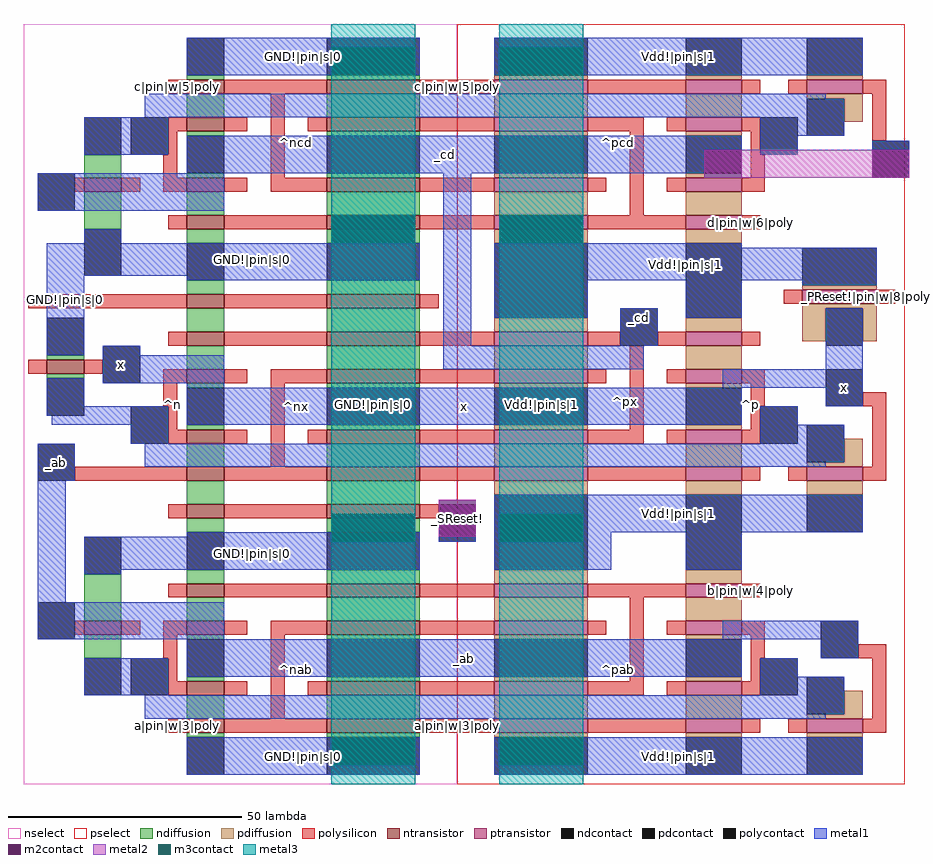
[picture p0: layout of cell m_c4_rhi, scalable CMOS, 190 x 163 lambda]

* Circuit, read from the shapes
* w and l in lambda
.subckt m_c4_rhi GND!|pin|s|0 Vdd!|pin|s|1 _PReset!|pin|w|8|poly _SReset! _SReset!|pin|w|7|poly _ab _cd a|pin|w|3|poly b|pin|w|4|poly c|pin|w|5|poly d|pin|w|6|poly x
M1 GND!|pin|s|0 x n1 VSUBS nfet w=8 l=3
M2 GND!|pin|s|0 _ab n2 VSUBS nfet w=8 l=3
M3 n3 _cd GND!|pin|s|0 VSUBS nfet w=8 l=3
M4 n4 a|pin|w|3|poly GND!|pin|s|0 VSUBS nfet w=8 l=3
M5 _ab n2 n4 VSUBS nfet w=8 l=3
M6 n5 n2 _ab VSUBS nfet w=8 l=3
M7 GND!|pin|s|0 b|pin|w|4|poly n5 VSUBS nfet w=8 l=3
M8 n6 _SReset! GND!|pin|s|0 VSUBS nfet w=8 l=3
M9 n7 _ab n6 VSUBS nfet w=8 l=3
M10 x n1 n7 VSUBS nfet w=8 l=3
M11 n8 n1 x VSUBS nfet w=8 l=3
M12 n9 _cd n8 VSUBS nfet w=8 l=3
M13 GND!|pin|s|0 _SReset!|pin|w|7|poly n9 VSUBS nfet w=8 l=3
M14 n10 d|pin|w|6|poly GND!|pin|s|0 VSUBS nfet w=8 l=3
M15 _cd n3 n10 VSUBS nfet w=8 l=3
M16 n11 n3 _cd VSUBS nfet w=8 l=3
M17 GND!|pin|s|0 c|pin|w|5|poly n11 VSUBS nfet w=8 l=3
M18 n12 a|pin|w|3|poly GND!|pin|s|0 VSUBS nfet w=20 l=3
M19 _ab b|pin|w|4|poly n12 VSUBS nfet w=20 l=3
M20 n13 a|pin|w|3|poly _ab VSUBS nfet w=20 l=3
M21 GND!|pin|s|0 b|pin|w|4|poly n13 VSUBS nfet w=20 l=3
M22 n14 _SReset! GND!|pin|s|0 VSUBS nfet w=20 l=3
M23 n15 _ab n14 VSUBS nfet w=20 l=3
M24 x _cd n15 VSUBS nfet w=20 l=3
M25 n16 _ab x VSUBS nfet w=20 l=3
M26 n17 _cd n16 VSUBS nfet w=20 l=3
M27 GND!|pin|s|0 _SReset!|pin|w|7|poly n17 VSUBS nfet w=20 l=3
M28 n18 d|pin|w|6|poly GND!|pin|s|0 VSUBS nfet w=20 l=3
M29 _cd c|pin|w|5|poly n18 VSUBS nfet w=20 l=3
M30 n19 d|pin|w|6|poly _cd VSUBS nfet w=20 l=3
M31 GND!|pin|s|0 c|pin|w|5|poly n19 VSUBS nfet w=20 l=3
M32 n20 a|pin|w|3|poly Vdd!|pin|s|1 NWELL pfet w=20 l=3
M33 _ab b|pin|w|4|poly n20 NWELL pfet w=20 l=3
M34 n21 a|pin|w|3|poly _ab NWELL pfet w=20 l=3
M35 Vdd!|pin|s|1 b|pin|w|4|poly n21 NWELL pfet w=20 l=3
M36 n22 _ab Vdd!|pin|s|1 NWELL pfet w=20 l=3
M37 x _cd n22 NWELL pfet w=20 l=3
M38 n23 _ab x NWELL pfet w=20 l=3
M39 Vdd!|pin|s|1 _cd n23 NWELL pfet w=20 l=3
M40 n24 d|pin|w|6|poly Vdd!|pin|s|1 NWELL pfet w=20 l=3
M41 _cd c|pin|w|5|poly n24 NWELL pfet w=20 l=3
M42 n25 d|pin|w|6|poly _cd NWELL pfet w=20 l=3
M43 Vdd!|pin|s|1 c|pin|w|5|poly n25 NWELL pfet w=20 l=3
M44 n26 a|pin|w|3|poly Vdd!|pin|s|1 NWELL pfet w=12 l=3
M45 _ab n2 n26 NWELL pfet w=12 l=3
M46 n27 n2 _ab NWELL pfet w=12 l=3
M47 Vdd!|pin|s|1 b|pin|w|4|poly n27 NWELL pfet w=12 l=3
M48 n28 _ab Vdd!|pin|s|1 NWELL pfet w=12 l=3
M49 x n1 n28 NWELL pfet w=12 l=3
M50 n29 n1 x NWELL pfet w=12 l=3
M51 Vdd!|pin|s|1 _cd n29 NWELL pfet w=12 l=3
M52 n30 d|pin|w|6|poly Vdd!|pin|s|1 NWELL pfet w=12 l=3
M53 _cd n3 n30 NWELL pfet w=12 l=3
M54 n31 n3 _cd NWELL pfet w=12 l=3
M55 Vdd!|pin|s|1 c|pin|w|5|poly n31 NWELL pfet w=12 l=3
M56 Vdd!|pin|s|1 _PReset!|pin|w|8|poly x NWELL pfet w=16 l=3
M57 n2 _ab Vdd!|pin|s|1 NWELL pfet w=12 l=3
M58 n1 x Vdd!|pin|s|1 NWELL pfet w=12 l=3
M59 Vdd!|pin|s|1 _cd n3 NWELL pfet w=12 l=3
.ends

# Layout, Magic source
magic
tech scmos
<< nselect >>
rect -93 2 0 165
<< pselect >>
rect 0 2 96 165
<< ndiffusion >>
rect -58 153 -50 154
rect -28 153 -8 154
rect -58 145 -50 150
rect -80 132 -72 137
rect -58 141 -50 142
rect -58 132 -50 133
rect -28 145 -8 150
rect -28 141 -8 142
rect -28 132 -8 133
rect -80 121 -72 129
rect -58 124 -50 129
rect -28 124 -8 129
rect -58 118 -50 121
rect -58 107 -50 110
rect -28 118 -8 121
rect -28 107 -8 110
rect -58 99 -50 104
rect -28 99 -8 104
rect -88 93 -80 94
rect -88 89 -80 90
rect -58 91 -50 96
rect -28 91 -8 96
rect -58 87 -50 88
rect -58 78 -50 79
rect -58 70 -50 75
rect -28 87 -8 88
rect -28 78 -8 79
rect -28 70 -8 75
rect -58 62 -50 67
rect -28 62 -8 67
rect -58 56 -50 59
rect -80 37 -72 47
rect -58 45 -50 48
rect -28 56 -8 59
rect -28 45 -8 48
rect -58 37 -50 42
rect -28 37 -8 42
rect -80 29 -72 34
rect -58 33 -50 34
rect -58 24 -50 25
rect -58 16 -50 21
rect -28 33 -8 34
rect -28 24 -8 25
rect -28 16 -8 21
rect -58 12 -50 13
rect -28 12 -8 13
<< pdiffusion >>
rect 8 153 28 154
rect 49 153 61 154
rect 75 153 87 154
rect 8 145 28 150
rect 49 145 61 150
rect 75 149 87 150
rect 8 141 28 142
rect 8 132 28 133
rect 8 124 28 129
rect 49 141 61 142
rect 49 132 61 133
rect 83 144 87 149
rect 49 124 61 129
rect 8 118 28 121
rect 49 118 61 121
rect 8 99 28 102
rect 74 108 90 109
rect 49 99 61 102
rect 74 104 90 105
rect 74 97 79 104
rect 87 97 90 104
rect 8 91 28 96
rect 8 87 28 88
rect 8 78 28 79
rect 49 91 61 96
rect 49 87 61 88
rect 49 78 61 79
rect 8 70 28 75
rect 49 70 61 75
rect 83 71 87 76
rect 75 70 87 71
rect 8 64 28 67
rect 8 45 28 48
rect 49 64 61 67
rect 75 64 87 67
rect 49 45 61 48
rect 8 37 28 42
rect 8 33 28 34
rect 8 24 28 25
rect 49 37 61 42
rect 49 33 61 34
rect 49 24 61 25
rect 8 16 28 21
rect 49 16 61 21
rect 83 17 87 22
rect 75 16 87 17
rect 8 12 28 13
rect 49 12 61 13
rect 75 12 87 13
<< ntransistor >>
rect -58 150 -50 153
rect -28 150 -8 153
rect -58 142 -50 145
rect -28 142 -8 145
rect -80 129 -72 132
rect -58 129 -50 132
rect -28 129 -8 132
rect -58 121 -50 124
rect -28 121 -8 124
rect -58 104 -50 107
rect -28 104 -8 107
rect -58 96 -50 99
rect -28 96 -8 99
rect -88 90 -80 93
rect -58 88 -50 91
rect -28 88 -8 91
rect -58 75 -50 78
rect -28 75 -8 78
rect -58 67 -50 70
rect -28 67 -8 70
rect -58 59 -50 62
rect -28 59 -8 62
rect -58 42 -50 45
rect -28 42 -8 45
rect -80 34 -72 37
rect -58 34 -50 37
rect -28 34 -8 37
rect -58 21 -50 24
rect -28 21 -8 24
rect -58 13 -50 16
rect -28 13 -8 16
<< ptransistor >>
rect 8 150 28 153
rect 49 150 61 153
rect 75 150 87 153
rect 8 142 28 145
rect 49 142 61 145
rect 8 129 28 132
rect 49 129 61 132
rect 8 121 28 124
rect 49 121 61 124
rect 8 96 28 99
rect 74 105 90 108
rect 49 96 61 99
rect 8 88 28 91
rect 49 88 61 91
rect 8 75 28 78
rect 49 75 61 78
rect 8 67 28 70
rect 49 67 61 70
rect 75 67 87 70
rect 8 42 28 45
rect 49 42 61 45
rect 8 34 28 37
rect 49 34 61 37
rect 8 21 28 24
rect 49 21 61 24
rect 8 13 28 16
rect 49 13 61 16
rect 75 13 87 16
<< polysilicon >>
rect -62 150 -58 153
rect -50 150 -28 153
rect -8 150 8 153
rect 28 150 49 153
rect 61 150 65 153
rect 71 150 75 153
rect 87 150 92 153
rect -62 142 -58 145
rect -50 142 -45 145
rect -62 137 -60 142
rect -63 132 -60 137
rect -40 132 -37 150
rect -32 142 -28 145
rect -8 142 8 145
rect 28 142 40 145
rect 45 142 49 145
rect 61 142 65 145
rect -82 129 -80 132
rect -72 129 -68 132
rect -63 129 -58 132
rect -50 129 -45 132
rect -40 129 -28 132
rect -8 129 8 132
rect 28 129 32 132
rect 37 124 40 142
rect 63 137 65 142
rect 89 140 92 150
rect 63 132 66 137
rect 45 129 49 132
rect 61 129 66 132
rect -62 121 -58 124
rect -50 121 -28 124
rect -8 121 8 124
rect 28 121 49 124
rect 61 121 65 124
rect -92 104 -58 107
rect -50 104 -28 107
rect -8 104 -4 107
rect -62 96 -58 99
rect -50 96 -28 99
rect -8 96 8 99
rect 28 96 35 99
rect 70 105 74 108
rect 90 105 94 108
rect 43 96 49 99
rect 61 96 65 99
rect -92 90 -88 93
rect -80 90 -76 93
rect -63 88 -58 91
rect -50 88 -45 91
rect -40 88 -28 91
rect -8 88 8 91
rect 28 88 32 91
rect -63 83 -60 88
rect -62 78 -60 83
rect -62 75 -58 78
rect -50 75 -45 78
rect -40 70 -37 88
rect 37 78 40 96
rect 45 88 49 91
rect 61 88 66 91
rect 63 83 66 88
rect 87 83 92 86
rect 63 78 65 83
rect -32 75 -28 78
rect -8 75 8 78
rect 28 75 40 78
rect 45 75 49 78
rect 61 75 65 78
rect 89 70 92 83
rect -82 67 -58 70
rect -50 67 -28 70
rect -8 67 8 70
rect 28 67 49 70
rect 61 67 65 70
rect 71 67 75 70
rect 87 67 92 70
rect -62 59 -58 62
rect -50 59 -28 62
rect -8 59 -4 62
rect -62 42 -58 45
rect -50 42 -28 45
rect -8 42 8 45
rect 28 42 49 45
rect 61 42 65 45
rect -82 34 -80 37
rect -72 34 -68 37
rect -63 34 -58 37
rect -50 34 -45 37
rect -40 34 -28 37
rect -8 34 8 37
rect 28 34 32 37
rect -63 29 -60 34
rect -62 24 -60 29
rect -62 21 -58 24
rect -50 21 -45 24
rect -40 16 -37 34
rect 37 24 40 42
rect 45 34 49 37
rect 61 34 66 37
rect 63 29 66 34
rect 86 29 92 32
rect 63 24 65 29
rect -32 21 -28 24
rect -8 21 8 24
rect 28 21 40 24
rect 45 21 49 24
rect 61 21 65 24
rect 89 16 92 29
rect -62 13 -58 16
rect -50 13 -28 16
rect -8 13 8 16
rect 28 13 49 16
rect 61 13 65 16
rect 71 13 75 16
rect 87 13 92 16
<< ndcontact >>
rect -58 154 -50 162
rect -28 154 -8 162
rect -80 137 -72 145
rect -58 133 -50 141
rect -28 133 -8 141
rect -80 111 -72 121
rect -58 110 -50 118
rect -28 110 -8 118
rect -88 94 -80 102
rect -88 81 -80 89
rect -58 79 -50 87
rect -28 79 -8 87
rect -80 47 -72 55
rect -58 48 -50 56
rect -28 48 -8 56
rect -80 21 -72 29
rect -58 25 -50 33
rect -28 25 -8 33
rect -58 4 -50 12
rect -28 4 -8 12
<< pdcontact >>
rect 8 154 28 162
rect 49 154 61 162
rect 75 154 87 162
rect 8 133 28 141
rect 49 133 61 141
rect 75 141 83 149
rect 8 102 28 118
rect 49 102 61 118
rect 74 109 90 117
rect 79 96 87 104
rect 8 79 28 87
rect 49 79 61 87
rect 75 71 83 79
rect 8 48 28 64
rect 49 48 61 64
rect 75 56 87 64
rect 8 25 28 33
rect 49 25 61 33
rect 75 17 83 25
rect 8 4 28 12
rect 49 4 61 12
rect 75 4 87 12
<< polycontact >>
rect -70 137 -62 145
rect -90 125 -82 133
rect 65 137 73 145
rect 89 132 97 140
rect 35 96 43 104
rect -76 88 -68 96
rect -70 75 -62 83
rect -90 67 -82 75
rect 79 83 87 91
rect 65 75 73 83
rect -90 33 -82 41
rect -4 54 4 62
rect -70 21 -62 29
rect 78 29 86 37
rect 65 21 73 29
<< metal1 >>
rect -58 160 -8 162
rect -58 154 -27 160
rect -9 154 -8 160
rect 8 160 87 162
rect 8 154 9 160
rect 27 154 87 160
rect -67 149 79 150
rect -67 145 83 149
rect -80 137 -62 145
rect 65 141 83 145
rect -58 138 61 141
rect -58 133 53 138
rect -90 125 -50 133
rect -80 118 -72 121
rect -88 111 -8 118
rect -88 94 -80 111
rect -58 110 -8 111
rect -3 96 3 133
rect 65 137 73 141
rect 89 138 97 140
rect 8 117 61 118
rect 8 110 90 117
rect 8 102 28 110
rect 35 96 43 104
rect 49 102 61 110
rect 74 109 90 110
rect -76 94 -68 96
rect -88 83 -80 89
rect -76 88 -50 94
rect -3 91 40 96
rect 79 91 87 104
rect -58 87 -50 88
rect 57 87 87 91
rect -88 81 -62 83
rect -87 79 -62 81
rect -58 79 61 87
rect 79 83 87 87
rect 65 79 73 83
rect -70 75 -62 79
rect 65 75 83 79
rect -90 67 -82 75
rect -67 71 83 75
rect -67 70 79 71
rect -90 41 -84 67
rect -58 55 -27 56
rect -80 54 -27 55
rect -9 54 -8 56
rect -4 54 4 55
rect 8 60 87 64
rect 8 54 9 60
rect 27 56 87 60
rect 27 54 33 56
rect -80 48 -8 54
rect 8 48 33 54
rect 49 48 61 56
rect -80 47 -72 48
rect -90 33 -50 41
rect 57 33 86 37
rect -80 21 -62 29
rect -58 25 61 33
rect 78 29 86 33
rect 65 25 73 29
rect 65 21 83 25
rect -67 17 83 21
rect -67 16 79 17
rect -58 6 -27 12
rect -9 6 -8 12
rect -58 4 -8 6
rect 8 6 9 12
rect 27 6 87 12
rect 8 4 87 6
<< m2contact >>
rect -27 154 -9 160
rect 9 154 27 160
rect -27 118 -9 124
rect 53 132 61 138
rect 89 132 97 138
rect 9 118 27 124
rect -27 54 -9 60
rect -4 55 4 63
rect 9 54 27 60
rect -27 6 -9 12
rect 9 6 27 12
<< metal2 >>
rect 53 132 97 138
rect -4 55 4 63
<< m3contact >>
rect -27 154 -9 160
rect 9 154 27 160
rect -27 118 -9 124
rect 9 118 27 124
rect -27 54 -9 60
rect 9 54 27 60
rect -27 6 -9 12
rect 9 6 27 12
<< metal3 >>
rect -27 2 -9 165
rect 9 2 27 165
<< labels >>
rlabel metal1 -72 92 -72 92 5 x
rlabel metal1 -86 71 -86 71 1 _ab
rlabel metal1 83 87 83 87 1 x
rlabel metal1 -58 79 61 87 1 x
rlabel metal1 -58 25 61 33 1 _ab
rlabel metal2 -4 55 4 63 1 _SReset!
rlabel metal1 39 102 39 102 1 _cd
rlabel metal1 -58 133 53 141 1 _cd
rlabel nselect -41 55 -28 111 3 ^nx
rlabel pselect 28 63 44 105 7 ^px
rlabel space -94 2 -28 165 7 ^n
rlabel space 28 2 98 165 3 ^p
rlabel nselect -41 4 -28 49 3 ^nab
rlabel pselect 28 4 41 49 7 ^pab
rlabel nselect -41 117 -28 162 3 ^ncd
rlabel pselect 28 117 41 162 7 ^pcd
rlabel metal3 -27 2 -9 165 1 GND!|pin|s|0
rlabel metal3 9 2 27 165 1 Vdd!|pin|s|1
rlabel metal1 -58 154 -8 162 1 GND!|pin|s|0
rlabel metal1 -58 4 -8 12 1 GND!|pin|s|0
rlabel metal1 -80 48 -8 55 1 GND!|pin|s|0
rlabel metal1 -80 111 -8 118 1 GND!|pin|s|0
rlabel metal1 -88 94 -80 118 1 GND!|pin|s|0
rlabel metal1 8 154 87 162 1 Vdd!|pin|s|1
rlabel metal1 8 4 87 12 1 Vdd!|pin|s|1
rlabel metal1 8 56 87 64 1 Vdd!|pin|s|1
rlabel metal1 8 110 90 117 1 Vdd!|pin|s|1
rlabel polysilicon -2 13 2 16 1 a|pin|w|3|poly
rlabel polysilicon -62 13 -58 16 1 a|pin|w|3|poly
rlabel polysilicon 61 42 65 45 1 b|pin|w|4|poly
rlabel polysilicon -2 150 2 153 1 c|pin|w|5|poly
rlabel polysilicon -62 150 -58 153 1 c|pin|w|5|poly
rlabel polysilicon 61 121 65 124 1 d|pin|w|6|poly
rlabel polysilicon -92 104 -88 107 1 _SReset!|pin|w|7|poly
rlabel polysilicon 90 105 94 108 1 _PReset!|pin|w|8|poly
<< end >>
